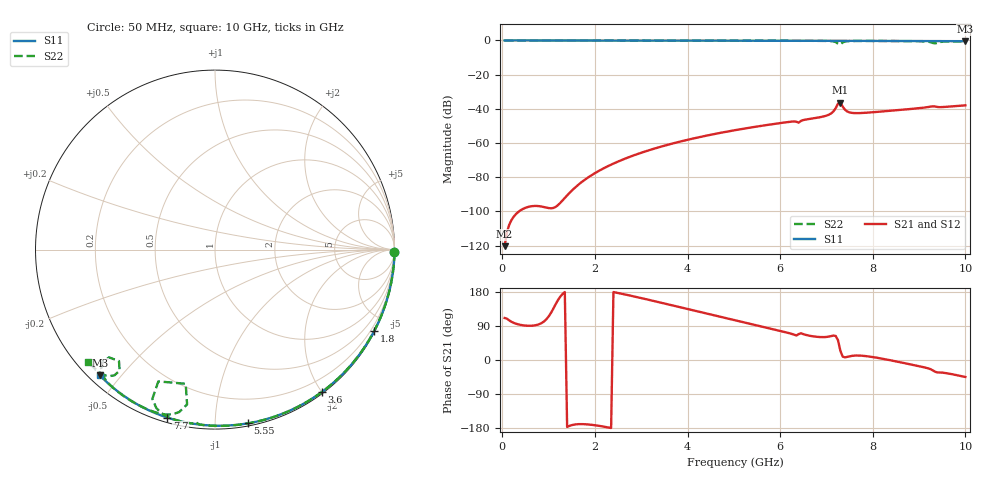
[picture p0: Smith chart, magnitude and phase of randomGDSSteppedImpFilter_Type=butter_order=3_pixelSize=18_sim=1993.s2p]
! freq	dB(S11)	phase(S11)	dB(S12)	phase(S12)
!  dB(S21)	phase(S21)	dB(S22)	phase(S22)
!S-par simulation data
#  GHz  S  DB  R 50
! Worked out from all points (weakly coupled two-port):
!   200 points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, 50 MHz to 10 GHz, reference 50 ohm
!   highest |S21| = -36.31 dB at 7.3 GHz (marker M1); lowest = -120.3 dB at 50 MHz (marker M2)
!   lowest |S11| = -0.4 dB at 10 GHz (marker M3), VSWR 38.88, Z = 1.54 - j22 ohm
!   |S11| at or under -10 dB: nowhere
!   |S22| runs from -2.3 to 0.0 dB; largest |S21 - S12| = 0
!   S11 on the Smith chart (normalised r, x): 50 MHz: open; 1.8 GHz: 0.04, -4.14; 3.6 GHz: 0.02, -2.00; 5.55 GHz: 0.02, -1.21; 7.7 GHz: 0.02, -0.76; 10 GHz: 0.03, -0.44
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0.05  -0.00 -0.8  -120.27 110.9  -120.27 110.9  -0.00 -0.8
1.75  -0.03 -26.4  -82.06 -169.3  -82.06 -169.3  -0.04 -28.1
1.8  -0.03 -27.2  -81.08 -169.6  -81.08 -169.6  -0.04 -28.9
2.55  -0.05 -38.2  -70.21 175.6  -70.21 175.6  -0.05 -40.5
3.4  -0.07 -50.3  -62.29 152.0  -62.29 152.0  -0.07 -53.4
3.6  -0.07 -53.1  -60.79 146.2  -60.79 146.2  -0.08 -56.4
5.05  -0.11 -72.8  -52.34 103.8  -52.34 103.8  -0.12 -77.3
5.55  -0.13 -79.3  -50.11 89.4  -50.11 89.4  -0.14 -84.3
6.4  -0.17 -90.1  -48.06 68.3  -48.06 68.3  -0.29 -96.1
6.7  -0.18 -93.8  -45.63 62.6  -45.63 62.6  -0.21 -100.4
7.05  -0.20 -98.1  -43.43 61.7  -43.43 61.7  -0.32 -107.0
7.2  -0.21 -99.9  -39.57 63.4  -39.57 63.4  -0.90 -112.8
7.25  -0.21 -100.5  -36.89 52.0  -36.89 52.0  -1.95 -113.3
7.3  -0.21 -101.1  -36.31 24.4  -36.31 24.4  -2.33 -102.3
7.35  -0.22 -101.7  -38.66 9.0  -38.66 9.0  -1.14 -100.2
7.45  -0.22 -102.9  -41.55 8.2  -41.55 8.2  -0.47 -104.4
7.7  -0.24 -105.9  -42.48 11.7  -42.48 11.7  -0.31 -110.1
8.35  -0.29 -113.5  -41.17 0.0  -41.17 0.0  -0.32 -119.6
9  -0.34 -121.0  -39.60 -16.4  -39.60 -16.4  -0.44 -129.3
9.3  -0.37 -124.4  -38.48 -27.6  -38.48 -27.6  -1.49 -134.5
9.5  -0.39 -126.7  -38.96 -33.3  -38.96 -33.3  -0.74 -129.8
10  -0.45 -132.4  -37.95 -44.8  -37.95 -44.8  -0.51 -138.5
